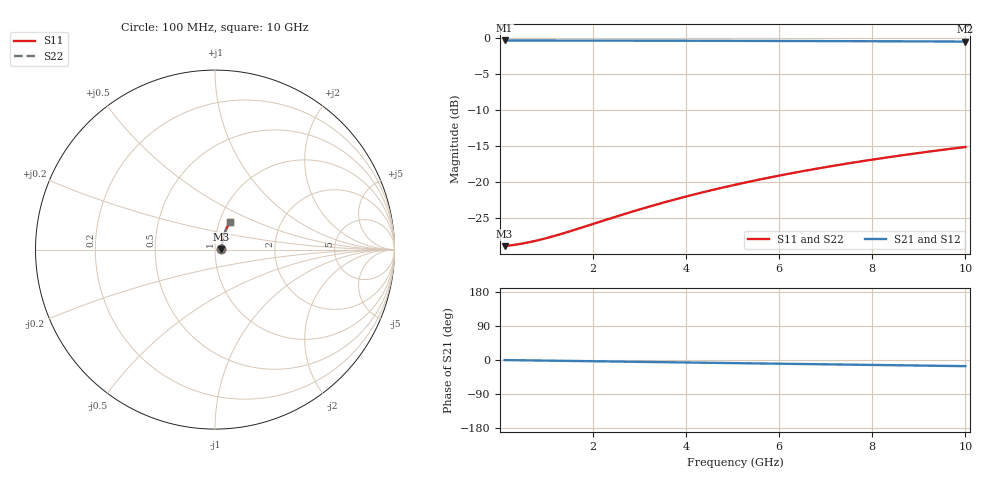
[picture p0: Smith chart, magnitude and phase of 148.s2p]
# Hz S RI R 50.00
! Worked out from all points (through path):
!   100 points, 100 MHz to 10 GHz, reference 50 ohm
!   highest |S21| = -0.32 dB at 100 MHz (marker M1); lowest = -0.5 dB at 10 GHz (marker M2)
!   group delay of S21, straight-line fit = 4.5 ps
!   lowest |S11| = -28.9 dB at 100 MHz (marker M3), VSWR 1.07, Z = 53.7 + j0.179 ohm
!   |S11| at or under -10 dB: start of sweep to end of sweep
!   |S22| runs from -28.9 to -15.1 dB; largest |S21 - S12| = 0
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1e8  0.0361 0.00166  0.9639 -0.00276  0.9639 -0.00276  0.0361 0.00166
3e8  0.0365 0.00497  0.9635 -0.00827  0.9635 -0.00827  0.0365 0.00497
5e8  0.0368 0.00828  0.9632 -0.0138  0.9632 -0.0138  0.0368 0.00828
8e8  0.0373 0.0132  0.9627 -0.022  0.9627 -0.022  0.0373 0.0132
1e9  0.0376 0.0165  0.9623 -0.0275  0.9623 -0.0275  0.0376 0.0165
1.2e9  0.0379 0.0198  0.962 -0.033  0.962 -0.033  0.0379 0.0198
1.5e9  0.0385 0.0248  0.9614 -0.0412  0.9614 -0.0412  0.0385 0.0248
1.8e9  0.0391 0.0297  0.9607 -0.0495  0.9607 -0.0495  0.0391 0.0297
2.7e9  0.0413 0.0444  0.9582 -0.074  0.9582 -0.074  0.0413 0.0444
3.1e9  0.0425 0.0509  0.9568 -0.0849  0.9568 -0.0849  0.0425 0.0509
3.4e9  0.0435 0.0557  0.9557 -0.093  0.9557 -0.093  0.0435 0.0557
3.8e9  0.045 0.0621  0.9541 -0.1039  0.9541 -0.1039  0.045 0.0621
4.2e9  0.0466 0.0685  0.9523 -0.1146  0.9523 -0.1146  0.0466 0.0685
4.6e9  0.0483 0.0748  0.9503 -0.1254  0.9503 -0.1254  0.0483 0.0748
5.1e9  0.0507 0.0827  0.9477 -0.1387  0.9477 -0.1387  0.0507 0.0827
5.5e9  0.0527 0.0889  0.9454 -0.1493  0.9454 -0.1493  0.0527 0.0889
5.9e9  0.0549 0.0951  0.9429 -0.1599  0.9429 -0.1599  0.0549 0.0951
6.7e9  0.0597 0.1072  0.9375 -0.1808  0.9375 -0.1808  0.0597 0.1072
7.5e9  0.0649 0.1191  0.9315 -0.2015  0.9315 -0.2015  0.0649 0.1191
8.4e9  0.0715 0.1321  0.9241 -0.2244  0.9241 -0.2244  0.0715 0.1321
9.2e9  0.0778 0.1433  0.9169 -0.2445  0.9169 -0.2445  0.0778 0.1433
1e10  0.0846 0.1542  0.9091 -0.2642  0.9091 -0.2642  0.0846 0.1542
